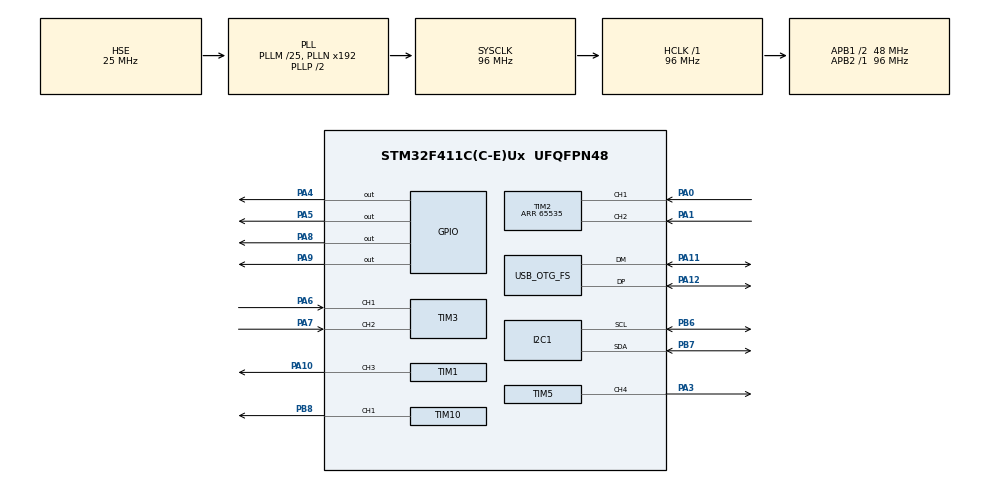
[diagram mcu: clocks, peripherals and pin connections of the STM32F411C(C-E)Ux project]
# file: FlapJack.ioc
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I2C1.DutyCycle=I2C_DUTYCYCLE_2
I2C1.I2C_Mode=I2C_Fast
Mcu.Family=STM32F4
Mcu.Name=STM32F411C(C-E)Ux
Mcu.Package=UFQFPN48
NVIC.OTG_FS_IRQn=true\:0\:0\:false\:false\:true\:false\:true
NVIC.PriorityGroup=NVIC_PRIORITYGROUP_4
PA0-WKUP.Signal=S_TIM2_CH1_ETR
PA1.Signal=S_TIM2_CH2
PA10.Signal=S_TIM1_CH3
PA11.Mode=Device_Only
PA11.Signal=USB_OTG_FS_DM
PA12.Mode=Device_Only
PA12.Signal=USB_OTG_FS_DP
PA3.Signal=S_TIM5_CH4
PA4.Signal=GPIO_Output
PA5.Signal=GPIO_Output
PA6.Signal=S_TIM3_CH1
PA7.Signal=S_TIM3_CH2
PA8.Signal=GPIO_Output
PA9.Signal=GPIO_Output
PB6.Mode=I2C
PB6.Signal=I2C1_SCL
PB7.Mode=I2C
PB7.Signal=I2C1_SDA
PB8.Signal=S_TIM10_CH1
PH0\ -\ OSC_IN.Mode=HSE-External-Oscillator
PH0\ -\ OSC_IN.Signal=RCC_OSC_IN
PH1\ -\ OSC_OUT.Mode=HSE-External-Oscillator
PH1\ -\ OSC_OUT.Signal=RCC_OSC_OUT
ProjectManager.HeapSize=0x200
ProjectManager.StackSize=0x400
ProjectManager.TargetToolchain=STM32CubeIDE
RCC.48MHZClocksFreq_Value=48000000
RCC.AHBFreq_Value=96000000
RCC.APB1CLKDivider=RCC_HCLK_DIV2
RCC.APB1Freq_Value=48000000
RCC.APB1TimFreq_Value=96000000
RCC.APB2Freq_Value=96000000
RCC.APB2TimFreq_Value=96000000
RCC.CortexFreq_Value=96000000
RCC.HCLKFreq_Value=96000000
RCC.HSE_VALUE=25000000
RCC.HSI_VALUE=16000000
RCC.PLLM=25
RCC.SYSCLKFreq_VALUE=96000000
RCC.SYSCLKSource=RCC_SYSCLKSOURCE_PLLCLK
RCC.VCOOutputFreq_Value=192000000
SH.S_TIM10_CH1.0=TIM10_CH1,PWM Generation1 CH1
SH.S_TIM1_CH3.0=TIM1_CH3,PWM Generation3 CH3
SH.S_TIM2_CH1_ETR.0=TIM2_CH1,Encoder_Interface
SH.S_TIM2_CH2.0=TIM2_CH2,Encoder_Interface
SH.S_TIM3_CH1.0=TIM3_CH1,Encoder_Interface
SH.S_TIM3_CH2.0=TIM3_CH2,Encoder_Interface
SH.S_TIM5_CH4.0=TIM5_CH4,PWM Generation4 CH4
TIM1.Channel-PWM\ Generation3\ CH3=TIM_CHANNEL_3
TIM1.OCMode_PWM-PWM\ Generation3\ CH3=TIM_OCMODE_PWM1
TIM10.Channel=TIM_CHANNEL_1
TIM10.ClockDivision=TIM_CLOCKDIVISION_DIV4
TIM2.Period=65535
TIM5.Channel-PWM\ Generation4\ CH4=TIM_CHANNEL_4
TIM5.Period=65535
USB_DEVICE.CLASS_NAME_FS=CDC
USB_DEVICE.VirtualMode=Cdc
USB_DEVICE.VirtualModeFS=Cdc_FS
USB_OTG_FS.VirtualMode=Device_Only
VP_TIM10_VS_ClockSourceINT.Mode=Enable_Timer
VP_TIM1_VS_ClockSourceINT.Mode=Internal
VP_TIM5_VS_ClockSourceINT.Mode=Internal
VP_TIM9_VS_ClockSourceINT.Mode=Internal
VP_USB_DEVICE_VS_USB_DEVICE_CDC_FS.Mode=CDC_FS
board=custom

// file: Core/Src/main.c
/* USER CODE BEGIN Header */
/**
  ******************************************************************************
  * @file           : main.c
  * @brief          : Main program body
  ******************************************************************************
  * @attention
  *
  * <h2><center>&copy; Copyright (c) 2021 STMicroelectronics.
  * All rights reserved.</center></h2>
  *
  * This software component is licensed by ST under Ultimate Liberty license
  * SLA0044, the "License"; You may not use this file except in compliance with
  * the License. You may obtain a copy of the License at:
  *                             www.st.com/SLA0044
  *
  ******************************************************************************
  */
/* USER CODE END Header */
#include "main.h"
#include "usb_device.h"

/* USER CODE BEGIN PD */
#define   I2C_USE_2V8
/* USER CODE END PD */

I2C_HandleTypeDef hi2c1;

TIM_HandleTypeDef htim1;
TIM_HandleTypeDef htim2;
TIM_HandleTypeDef htim3;
TIM_HandleTypeDef htim5;
TIM_HandleTypeDef htim9;
TIM_HandleTypeDef htim10;

void SystemClock_Config(void);
static void MX_GPIO_Init(void);
static void MX_TIM3_Init(void);
static void MX_TIM9_Init(void);
static void MX_I2C1_Init(void);
static void MX_TIM2_Init(void);
static void MX_TIM1_Init(void);
static void MX_TIM5_Init(void);
static void MX_TIM10_Init(void);

/* USER CODE BEGIN 0 */

void print_pal_error(VL53L0X_Error Status){
    char buf[VL53L0X_MAX_STRING_LENGTH];
    VL53L0X_GetPalErrorString(Status, buf);
    cdc_printf(buf, Status);
}

uint8_t msg[1024];

void cdc_printf(const char * fmt, ...){
	// Make a simple function to print to usb
	va_list args;
	va_start(args, fmt);
    vsprintf((char *)msg, fmt, args);
	va_end(args);
	CDC_Transmit_FS(msg, strlen((char *)msg));
}

void print_range_status(VL53L0X_RangingMeasurementData_t* pRangingMeasurementData){
    char buf[VL53L0X_MAX_STRING_LENGTH];
    uint8_t RangeStatus;

    /*
     * New Range Status: data is valid when pRangingMeasurementData->RangeStatus = 0
     */

    RangeStatus = pRangingMeasurementData->RangeStatus;
    VL53L0X_GetRangeStatusString(RangeStatus, buf);
    cdc_printf("Range Status: %i : %s\r\n", RangeStatus, buf);

}

FixPoint1616_t LimitCheckCurrent;
uint32_t refSpadCount;
uint8_t isApertureSpads;
uint8_t VhvSettings;
uint8_t PhaseCal;

VL53L0X_Error TOF_Init(VL53L0X_Dev_t *pMyDevice)
{
	VL53L0X_Error Status = VL53L0X_ERROR_NONE;
    if(Status == VL53L0X_ERROR_NONE)
    {
    	//cdc_printf("Call of VL53L0X_DataInit\r\n");
    	Status = VL53L0X_DataInit(pMyDevice); // Data initialization
    	print_pal_error(Status);
    }

    if(Status == VL53L0X_ERROR_NONE)
    {
        //cdc_printf("Call of VL53L0X_StaticInit\r\n");
        Status = VL53L0X_StaticInit(pMyDevice); // Device Initialization
        print_pal_error(Status);
    }

    if(Status == VL53L0X_ERROR_NONE)
    {
        //cdc_printf("Call of VL53L0X_PerformRefCalibration\r\n");
        Status = VL53L0X_PerformRefCalibration(pMyDevice,
        		&VhvSettings, &PhaseCal); // Device Initialization
        print_pal_error(Status);
    }

    if(Status == VL53L0X_ERROR_NONE)
    {
        //cdc_printf("Call of VL53L0X_PerformRefSpadManagement\r\n");
        Status = VL53L0X_PerformRefSpadManagement(pMyDevice,
        		&refSpadCount, &isApertureSpads); // Device Initialization
        cdc_printf("refSpadCount = %06d, isApertureSpads = %06d\r\n", refSpadCount, isApertureSpads);
        print_pal_error(Status);
    }

    if(Status == VL53L0X_ERROR_NONE)
    {

        // no need to do this when we use VL53L0X_PerformSingleRangingMeasurement
        //cdc_printf("Call of VL53L0X_SetDeviceMode\r\n");
        Status = VL53L0X_SetDeviceMode(pMyDevice, VL53L0X_DEVICEMODE_SINGLE_RANGING); // Setup in single ranging mode
        print_pal_error(Status);
    }

    // Enable/Disable Sigma and Signal check
    if (Status == VL53L0X_ERROR_NONE) {
        Status = VL53L0X_SetLimitCheckEnable(pMyDevice,
        		VL53L0X_CHECKENABLE_SIGMA_FINAL_RANGE, 1);
    }
    if (Status == VL53L0X_ERROR_NONE) {
        Status = VL53L0X_SetLimitCheckEnable(pMyDevice,
        		VL53L0X_CHECKENABLE_SIGNAL_RATE_FINAL_RANGE, 1);
    }

    if (Status == VL53L0X_ERROR_NONE) {
        Status = VL53L0X_SetLimitCheckValue(pMyDevice,
        		VL53L0X_CHECKENABLE_SIGNAL_RATE_FINAL_RANGE,
        		(FixPoint1616_t)(0.25*65536));
	}
    if (Status == VL53L0X_ERROR_NONE) {
        Status = VL53L0X_SetLimitCheckValue(pMyDevice,
        		VL53L0X_CHECKENABLE_SIGMA_FINAL_RANGE,
        		(FixPoint1616_t)(32*65536));
    }
    if (Status == VL53L0X_ERROR_NONE) {
        Status = VL53L0X_SetMeasurementTimingBudgetMicroSeconds(pMyDevice,
        		30000);
    }
    return Status;

}

uint8_t motor_set_direction(uint8_t status){
	switch (status){
		case RWHEEL_FORWARD:
			HAL_GPIO_WritePin(GPIOA, GPIO_PIN_8, GPIO_PIN_SET);
			HAL_GPIO_WritePin(GPIOA, GPIO_PIN_9, GPIO_PIN_RESET);
			break;

		case RWHEEL_BACKWARD:
			HAL_GPIO_WritePin(GPIOA, GPIO_PIN_8, GPIO_PIN_RESET);
		  	HAL_GPIO_WritePin(GPIOA, GPIO_PIN_9, GPIO_PIN_SET);
		  	break;

		case LWHEEL_FORWARD:
			HAL_GPIO_WritePin(GPIOA, GPIO_PIN_4, GPIO_PIN_SET);
			HAL_GPIO_WritePin(GPIOA, GPIO_PIN_5, GPIO_PIN_RESET);
			break;

		case LWHEEL_BACKWARD:
			HAL_GPIO_WritePin(GPIOA, GPIO_PIN_4, GPIO_PIN_RESET);
			HAL_GPIO_WritePin(GPIOA, GPIO_PIN_5, GPIO_PIN_SET);
			break;

		case RWHEEL_STOP:
			HAL_GPIO_WritePin(GPIOA, GPIO_PIN_8, GPIO_PIN_RESET);
			HAL_GPIO_WritePin(GPIOA, GPIO_PIN_9, GPIO_PIN_RESET);
			break;

		case LWHEEL_STOP:
			HAL_GPIO_WritePin(GPIOA, GPIO_PIN_4, GPIO_PIN_RESET);
			HAL_GPIO_WritePin(GPIOA, GPIO_PIN_5, GPIO_PIN_RESET);
			break;
	}
	return 0;
}

uint8_t motor_set_speed(uint8_t status, uint32_t speed){
		switch (status){
			case RWHEEL_SET_SPEED:
				TIM1->CCR3 = speed;
				break;

			case LWHEEL_SET_SPEED:
				TIM5->CCR4 = speed;
				break;

		}
		return 0;
}

uint8_t motor_set_config(uint8_t *mconfig){
	// mconfig should be 5 elements long
	// mconfig[0] used for descrete control - only last 4 bits used
	// b3: set to 1 to turn Left motor off
	// b2: set to 1 to turn Right motor off
	// b1: set to 1 to turn Left wheel in the forward direction
	// b0: set to 1 to turn Right wheel in the forward direction
	// Use mconfig[1](MSB) and mconfig[2](LSB) to set LEFT motor Speed
	// Use mconfig[3](MSB) and mconfig[4](LSB) to set RIGHT motor Speed

	if ((mconfig[0] & 0x08) == 0){
		if (mconfig[0] & 0x02)
			motor_set_direction(LWHEEL_FORWARD);
		else
			motor_set_direction(LWHEEL_BACKWARD);
		motor_set_speed(LWHEEL_SET_SPEED,(uint32_t)mconfig[1]<<8 | mconfig[2]);
	}
	else{
		motor_set_direction(LWHEEL_STOP);
	}

	if ((mconfig[0] & 0x04) == 0){
		if (mconfig[0] & 0x01)
			motor_set_direction(RWHEEL_FORWARD);
		else
			motor_set_direction(RWHEEL_BACKWARD);
		motor_set_speed(RWHEEL_SET_SPEED,(uint32_t)mconfig[3]<<8 | mconfig[4]);
	}else{
		motor_set_direction(RWHEEL_STOP);
	}

}

uint16_t TOF_Single_Range(VL53L0X_Dev_t *pMyDevice){
    VL53L0X_RangingMeasurementData_t RangingMeasurementData;
	VL53L0X_Error Status = VL53L0X_ERROR_NONE;
    Status = VL53L0X_PerformSingleRangingMeasurement(pMyDevice,
            		&RangingMeasurementData);
    VL53L0X_GetLimitCheckCurrent(pMyDevice,
    VL53L0X_CHECKENABLE_RANGE_IGNORE_THRESHOLD, &LimitCheckCurrent);
    if (Status)
    	return 1;
    return RangingMeasurementData.RangeMilliMeter;
}

/* USER CODE END 0 */

int main(void)
{

  /* MCU Configuration--------------------------------------------------------*/

  /* Reset of all peripherals, Initializes the Flash interface and the Systick. */
  HAL_Init();

  /* Configure the system clock */
  SystemClock_Config();

  /* Initialize all configured peripherals */
  MX_GPIO_Init();
  MX_USB_DEVICE_Init();
  MX_TIM3_Init();
  MX_TIM9_Init();
  MX_I2C1_Init();
  MX_TIM2_Init();
  MX_TIM1_Init();
  MX_TIM5_Init();
  MX_TIM10_Init();
  /* USER CODE BEGIN 2 */
  State = -1;
  uint16_t range = 0;
  int8_t data[20] = {0}; // This will store all of the data in bytes
  	  	  	  	  	  	 // bytes 0-13 will hold the MPU data uint16_t, bytes 14-15
  	  	  	  	  	  	 // will hold tof range (mm) data uint16_t
                         // 16-17 will hold wl, 18-19 will hold wr - int16_t
  int16_t t = 0;
  VL53L0X_Dev_t MyDevice;
  VL53L0X_Dev_t *pMyDevice = &MyDevice;
  VL53L0X_Version_t Version;
  VL53L0X_Version_t *pVersion   = &Version;
  VL53L0X_DeviceInfo_t DeviceInfo;

  // "Angular Velocity of wheels"
  int16_t wl = 0;
  int16_t wr = 0;

  DL = 30000;
  DR = 30000;

  // set device addr and other configurations
  pMyDevice->I2cDevAddr      = 0x52;
  pMyDevice->comms_type      =  1;
  pMyDevice->comms_speed_khz =  400;

  // Sensor Init
  TOF_Init(pMyDevice);
  mpu_pwr_mgmt(MPU_DEV, 0x0, 0x0);
  HAL_TIM_Encoder_Start(&htim2, TIM_CHANNEL_ALL);
  HAL_TIM_Encoder_Start(&htim3, TIM_CHANNEL_ALL);

  // Encoder counts
  TIM2->CNT = 0; //Left
  TIM3->CNT = 0; //Right

  // Actuation init
  HAL_TIM_PWM_Start(&htim1, TIM_CHANNEL_3);
  HAL_TIM_PWM_Start(&htim5, TIM_CHANNEL_4);
  HAL_TIM_PWM_Start(&htim10, TIM_CHANNEL_1);

  // Wheel Speed control duty cycle out of DR/65536
  TIM1->CCR3 = DR;
  TIM5->CCR4 = DL;

  // Cam servo
  TIM10->CCR1 = 100;

  /* USER CODE END 2 */

  /* Infinite loop */
  /* USER CODE BEGIN WHILE */
  while (1)
  {
	  // Send Data

	  if(State == STATE_DATA_SEND){
		  wl = TIM2->CNT; // omega l
		  wr = TIM3->CNT; // omega r
		  TIM2->CNT = 0;  // reset Angular Velocities
		  TIM3->CNT = 0;
		  mpu_get_bytes(MPU_DEV, data); // accel, temp, gyro
		  range = TOF_Single_Range(pMyDevice); // ranging

		  data[14] = range>>8;
		  data[15] = range & 0x00ff;
		  data[16] = wl>>8;
		  data[17] = wl & 0x00ff;
		  data[18] = wr>>8;
		  data[19] = wr & 0x00ff;
		  CDC_Transmit_FS(data, 20);

	  }
	  if (Act_State == STATE_ACT_UPDATE){
		  motor_set_config(mconfig);
		  Act_State = 0;
	  }

	  // Actuation - Assume ZOH

	  // Update Motor Speed

    /* USER CODE END WHILE */

  }
}

void SystemClock_Config(void)
{
  RCC_OscInitTypeDef RCC_OscInitStruct = {0};
  RCC_ClkInitTypeDef RCC_ClkInitStruct = {0};

  /** Configure the main internal regulator output voltage
  */
  __HAL_RCC_PWR_CLK_ENABLE();
  __HAL_PWR_VOLTAGESCALING_CONFIG(PWR_REGULATOR_VOLTAGE_SCALE1);
  /** Initializes the RCC Oscillators according to the specified parameters
  * in the RCC_OscInitTypeDef structure.
  */
  RCC_OscInitStruct.OscillatorType = RCC_OSCILLATORTYPE_HSE;
  RCC_OscInitStruct.HSEState = RCC_HSE_ON;
  RCC_OscInitStruct.PLL.PLLState = RCC_PLL_ON;
  RCC_OscInitStruct.PLL.PLLSource = RCC_PLLSOURCE_HSE;
  RCC_OscInitStruct.PLL.PLLM = 25;
  RCC_OscInitStruct.PLL.PLLN = 192;
  RCC_OscInitStruct.PLL.PLLP = RCC_PLLP_DIV2;
  RCC_OscInitStruct.PLL.PLLQ = 4;
  if (HAL_RCC_OscConfig(&RCC_OscInitStruct) != HAL_OK)
  {
    Error_Handler();
  }
  /** Initializes the CPU, AHB and APB buses clocks
  */
  RCC_ClkInitStruct.ClockType = RCC_CLOCKTYPE_HCLK|RCC_CLOCKTYPE_SYSCLK
                              |RCC_CLOCKTYPE_PCLK1|RCC_CLOCKTYPE_PCLK2;
  RCC_ClkInitStruct.SYSCLKSource = RCC_SYSCLKSOURCE_PLLCLK;
  RCC_ClkInitStruct.AHBCLKDivider = RCC_SYSCLK_DIV1;
  RCC_ClkInitStruct.APB1CLKDivider = RCC_HCLK_DIV2;
  RCC_ClkInitStruct.APB2CLKDivider = RCC_HCLK_DIV1;

  if (HAL_RCC_ClockConfig(&RCC_ClkInitStruct, FLASH_LATENCY_3) != HAL_OK)
  {
    Error_Handler();
  }
}

static void MX_I2C1_Init(void)
{

  hi2c1.Instance = I2C1;
  hi2c1.Init.ClockSpeed = 400000;
  hi2c1.Init.DutyCycle = I2C_DUTYCYCLE_2;
  hi2c1.Init.OwnAddress1 = 0;
  hi2c1.Init.AddressingMode = I2C_ADDRESSINGMODE_7BIT;
  hi2c1.Init.DualAddressMode = I2C_DUALADDRESS_DISABLE;
  hi2c1.Init.OwnAddress2 = 0;
  hi2c1.Init.GeneralCallMode = I2C_GENERALCALL_DISABLE;
  hi2c1.Init.NoStretchMode = I2C_NOSTRETCH_DISABLE;
  if (HAL_I2C_Init(&hi2c1) != HAL_OK)
  {
    Error_Handler();
  }

}

static void MX_TIM1_Init(void)
{

  TIM_ClockConfigTypeDef sClockSourceConfig = {0};
  TIM_MasterConfigTypeDef sMasterConfig = {0};
  TIM_OC_InitTypeDef sConfigOC = {0};
  TIM_BreakDeadTimeConfigTypeDef sBreakDeadTimeConfig = {0};

  htim1.Instance = TIM1;
  htim1.Init.Prescaler = 0;
  htim1.Init.CounterMode = TIM_COUNTERMODE_UP;
  htim1.Init.Period = 65535;
  htim1.Init.ClockDivision = TIM_CLOCKDIVISION_DIV1;
  htim1.Init.RepetitionCounter = 0;
  htim1.Init.AutoReloadPreload = TIM_AUTORELOAD_PRELOAD_DISABLE;
  if (HAL_TIM_Base_Init(&htim1) != HAL_OK)
  {
    Error_Handler();
  }
  sClockSourceConfig.ClockSource = TIM_CLOCKSOURCE_INTERNAL;
  if (HAL_TIM_ConfigClockSource(&htim1, &sClockSourceConfig) != HAL_OK)
  {
    Error_Handler();
  }
  if (HAL_TIM_PWM_Init(&htim1) != HAL_OK)
  {
    Error_Handler();
  }
  sMasterConfig.MasterOutputTrigger = TIM_TRGO_RESET;
  sMasterConfig.MasterSlaveMode = TIM_MASTERSLAVEMODE_DISABLE;
  if (HAL_TIMEx_MasterConfigSynchronization(&htim1, &sMasterConfig) != HAL_OK)
  {
    Error_Handler();
  }
  sConfigOC.OCMode = TIM_OCMODE_PWM1;
  sConfigOC.Pulse = 0;
  sConfigOC.OCPolarity = TIM_OCPOLARITY_HIGH;
  sConfigOC.OCNPolarity = TIM_OCNPOLARITY_HIGH;
  sConfigOC.OCFastMode = TIM_OCFAST_DISABLE;
  sConfigOC.OCIdleState = TIM_OCIDLESTATE_RESET;
  sConfigOC.OCNIdleState = TIM_OCNIDLESTATE_RESET;
  if (HAL_TIM_PWM_ConfigChannel(&htim1, &sConfigOC, TIM_CHANNEL_3) != HAL_OK)
  {
    Error_Handler();
  }
  sBreakDeadTimeConfig.OffStateRunMode = TIM_OSSR_DISABLE;
  sBreakDeadTimeConfig.OffStateIDLEMode = TIM_OSSI_DISABLE;
  sBreakDeadTimeConfig.LockLevel = TIM_LOCKLEVEL_OFF;
  sBreakDeadTimeConfig.DeadTime = 0;
  sBreakDeadTimeConfig.BreakState = TIM_BREAK_DISABLE;
  sBreakDeadTimeConfig.BreakPolarity = TIM_BREAKPOLARITY_HIGH;
  sBreakDeadTimeConfig.AutomaticOutput = TIM_AUTOMATICOUTPUT_DISABLE;
  if (HAL_TIMEx_ConfigBreakDeadTime(&htim1, &sBreakDeadTimeConfig) != HAL_OK)
  {
    Error_Handler();
  }
  HAL_TIM_MspPostInit(&htim1);

}

static void MX_TIM2_Init(void)
{

  TIM_Encoder_InitTypeDef sConfig = {0};
  TIM_MasterConfigTypeDef sMasterConfig = {0};

  htim2.Instance = TIM2;
  htim2.Init.Prescaler = 0;
  htim2.Init.CounterMode = TIM_COUNTERMODE_UP;
  htim2.Init.Period = 65535;
  htim2.Init.ClockDivision = TIM_CLOCKDIVISION_DIV1;
  htim2.Init.AutoReloadPreload = TIM_AUTORELOAD_PRELOAD_DISABLE;
  sConfig.EncoderMode = TIM_ENCODERMODE_TI1;
  sConfig.IC1Polarity = TIM_ICPOLARITY_RISING;
  sConfig.IC1Selection = TIM_ICSELECTION_DIRECTTI;
  sConfig.IC1Prescaler = TIM_ICPSC_DIV1;
  sConfig.IC1Filter = 0;
  sConfig.IC2Polarity = TIM_ICPOLARITY_RISING;
  sConfig.IC2Selection = TIM_ICSELECTION_DIRECTTI;
  sConfig.IC2Prescaler = TIM_ICPSC_DIV1;
  sConfig.IC2Filter = 0;
  if (HAL_TIM_Encoder_Init(&htim2, &sConfig) != HAL_OK)
  {
    Error_Handler();
  }
  sMasterConfig.MasterOutputTrigger = TIM_TRGO_RESET;
  sMasterConfig.MasterSlaveMode = TIM_MASTERSLAVEMODE_DISABLE;
  if (HAL_TIMEx_MasterConfigSynchronization(&htim2, &sMasterConfig) != HAL_OK)
  {
    Error_Handler();
  }

}

static void MX_TIM3_Init(void)
{

  TIM_Encoder_InitTypeDef sConfig = {0};
  TIM_MasterConfigTypeDef sMasterConfig = {0};

  htim3.Instance = TIM3;
  htim3.Init.Prescaler = 0;
  htim3.Init.CounterMode = TIM_COUNTERMODE_UP;
  htim3.Init.Period = 65535;
  htim3.Init.ClockDivision = TIM_CLOCKDIVISION_DIV1;
  htim3.Init.AutoReloadPreload = TIM_AUTORELOAD_PRELOAD_DISABLE;
  sConfig.EncoderMode = TIM_ENCODERMODE_TI1;
  sConfig.IC1Polarity = TIM_ICPOLARITY_RISING;
  sConfig.IC1Selection = TIM_ICSELECTION_DIRECTTI;
  sConfig.IC1Prescaler = TIM_ICPSC_DIV1;
  sConfig.IC1Filter = 0;
  sConfig.IC2Polarity = TIM_ICPOLARITY_RISING;
  sConfig.IC2Selection = TIM_ICSELECTION_DIRECTTI;
  sConfig.IC2Prescaler = TIM_ICPSC_DIV1;
  sConfig.IC2Filter = 0;
  if (HAL_TIM_Encoder_Init(&htim3, &sConfig) != HAL_OK)
  {
    Error_Handler();
  }
  sMasterConfig.MasterOutputTrigger = TIM_TRGO_RESET;
  sMasterConfig.MasterSlaveMode = TIM_MASTERSLAVEMODE_DISABLE;
  if (HAL_TIMEx_MasterConfigSynchronization(&htim3, &sMasterConfig) != HAL_OK)
  {
    Error_Handler();
  }

}

static void MX_TIM5_Init(void)
{

  TIM_ClockConfigTypeDef sClockSourceConfig = {0};
  TIM_MasterConfigTypeDef sMasterConfig = {0};
  TIM_OC_InitTypeDef sConfigOC = {0};

  htim5.Instance = TIM5;
  htim5.Init.Prescaler = 0;
  htim5.Init.CounterMode = TIM_COUNTERMODE_UP;
  htim5.Init.Period = 65535;
  htim5.Init.ClockDivision = TIM_CLOCKDIVISION_DIV1;
  htim5.Init.AutoReloadPreload = TIM_AUTORELOAD_PRELOAD_DISABLE;
  if (HAL_TIM_Base_Init(&htim5) != HAL_OK)
  {
    Error_Handler();
  }
  sClockSourceConfig.ClockSource = TIM_CLOCKSOURCE_INTERNAL;
  if (HAL_TIM_ConfigClockSource(&htim5, &sClockSourceConfig) != HAL_OK)
  {
    Error_Handler();
  }
  if (HAL_TIM_PWM_Init(&htim5) != HAL_OK)
  {
    Error_Handler();
  }
  sMasterConfig.MasterOutputTrigger = TIM_TRGO_RESET;
  sMasterConfig.MasterSlaveMode = TIM_MASTERSLAVEMODE_DISABLE;
  if (HAL_TIMEx_MasterConfigSynchronization(&htim5, &sMasterConfig) != HAL_OK)
  {
    Error_Handler();
  }
  sConfigOC.OCMode = TIM_OCMODE_PWM1;
  sConfigOC.Pulse = 0;
  sConfigOC.OCPolarity = TIM_OCPOLARITY_HIGH;
  sConfigOC.OCFastMode = TIM_OCFAST_DISABLE;
  if (HAL_TIM_PWM_ConfigChannel(&htim5, &sConfigOC, TIM_CHANNEL_4) != HAL_OK)
  {
    Error_Handler();
  }
  HAL_TIM_MspPostInit(&htim5);

}

static void MX_TIM9_Init(void)
{

  TIM_ClockConfigTypeDef sClockSourceConfig = {0};

  htim9.Instance = TIM9;
  htim9.Init.Prescaler = 0;
  htim9.Init.CounterMode = TIM_COUNTERMODE_UP;
  htim9.Init.Period = 65535;
  htim9.Init.ClockDivision = TIM_CLOCKDIVISION_DIV1;
  htim9.Init.AutoReloadPreload = TIM_AUTORELOAD_PRELOAD_DISABLE;
  if (HAL_TIM_Base_Init(&htim9) != HAL_OK)
  {
    Error_Handler();
  }
  sClockSourceConfig.ClockSource = TIM_CLOCKSOURCE_INTERNAL;
  if (HAL_TIM_ConfigClockSource(&htim9, &sClockSourceConfig) != HAL_OK)
  {
    Error_Handler();
  }

}

static void MX_TIM10_Init(void)
{

  TIM_OC_InitTypeDef sConfigOC = {0};

  htim10.Instance = TIM10;
  htim10.Init.Prescaler = 0;
  htim10.Init.CounterMode = TIM_COUNTERMODE_UP;
  htim10.Init.Period = 65535;
  htim10.Init.ClockDivision = TIM_CLOCKDIVISION_DIV4;
  htim10.Init.AutoReloadPreload = TIM_AUTORELOAD_PRELOAD_DISABLE;
  if (HAL_TIM_Base_Init(&htim10) != HAL_OK)
  {
    Error_Handler();
  }
  if (HAL_TIM_PWM_Init(&htim10) != HAL_OK)
  {
    Error_Handler();
  }
  sConfigOC.OCMode = TIM_OCMODE_PWM1;
  sConfigOC.Pulse = 0;
  sConfigOC.OCPolarity = TIM_OCPOLARITY_HIGH;
  sConfigOC.OCFastMode = TIM_OCFAST_DISABLE;
  if (HAL_TIM_PWM_ConfigChannel(&htim10, &sConfigOC, TIM_CHANNEL_1) != HAL_OK)
  {
    Error_Handler();
  }
  HAL_TIM_MspPostInit(&htim10);

}

static void MX_GPIO_Init(void)
{
  GPIO_InitTypeDef GPIO_InitStruct = {0};

  /* GPIO Ports Clock Enable */
  __HAL_RCC_GPIOH_CLK_ENABLE();
  __HAL_RCC_GPIOA_CLK_ENABLE();
  __HAL_RCC_GPIOB_CLK_ENABLE();

  /*Configure GPIO pin Output Level */
  HAL_GPIO_WritePin(GPIOA, GPIO_PIN_4|GPIO_PIN_5|GPIO_PIN_8|GPIO_PIN_9, GPIO_PIN_RESET);

  /*Configure GPIO pins : PA4 PA5 PA8 PA9 */
  GPIO_InitStruct.Pin = GPIO_PIN_4|GPIO_PIN_5|GPIO_PIN_8|GPIO_PIN_9;
  GPIO_InitStruct.Mode = GPIO_MODE_OUTPUT_PP;
  GPIO_InitStruct.Pull = GPIO_NOPULL;
  GPIO_InitStruct.Speed = GPIO_SPEED_FREQ_LOW;
  HAL_GPIO_Init(GPIOA, &GPIO_InitStruct);

}

void Error_Handler(void)
{
  __disable_irq();
  while (1)
  {
  }
}

/************************ (C) COPYRIGHT STMicroelectronics *****END OF FILE****/
